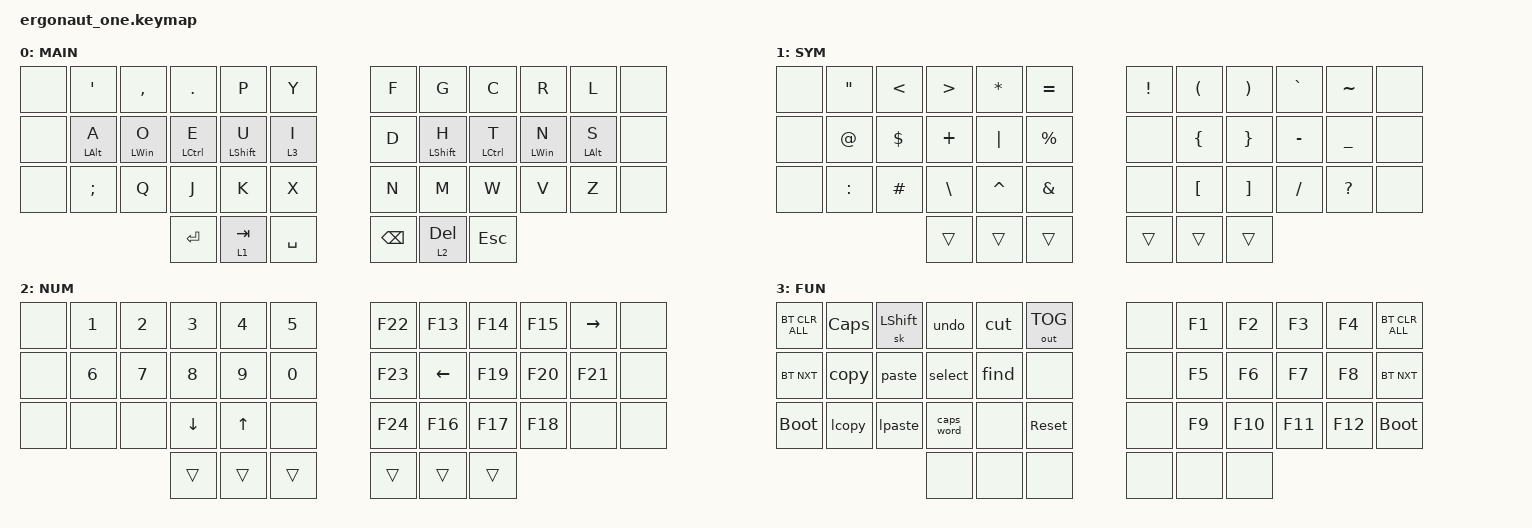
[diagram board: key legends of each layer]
#include <behaviors.dtsi>
#include <dt-bindings/zmk/bt.h>
#include <dt-bindings/zmk/keys.h>
#include <dt-bindings/zmk/outputs.h>

#define DEF 0
#define LWR 1
#define RSE 2
#define ADJ 3

&lt { quick-tap-ms = <200>; };

&mt { quick-tap-ms = <200>; };

/ {
    conditional_layers {
        compatible = "zmk,conditional-layers";

        tri-layer {
            if-layers = <LWR RSE>;
            then-layer = <ADJ>;
        };
    };

    macros {
        copy: copy {
            compatible = "zmk,behavior-macro";
            #binding-cells = <0>;
            bindings =
                <&macro_press>,
                <&kp LCTRL &kp C>,
                <&macro_release>,
                <&kp LCTRL &kp C>;

            label = "COPY";
        };

        lcopy: lcopy {
            compatible = "zmk,behavior-macro";
            #binding-cells = <0>;
            bindings =
                <&macro_press>,
                <&kp LCTRL &kp LEFT_SHIFT &kp C>,
                <&macro_release>,
                <&kp LCTRL &kp LEFT_SHIFT &kp C>;

            label = "LCOPY";
        };

        paste: paste {
            compatible = "zmk,behavior-macro";
            #binding-cells = <0>;
            bindings =
                <&macro_press>,
                <&kp LCTRL &kp V>,
                <&macro_release>,
                <&kp LCTRL &kp V>;

            label = "PASTE";
        };

        lpaste: lpaste {
            compatible = "zmk,behavior-macro";
            #binding-cells = <0>;
            bindings =
                <&macro_press>,
                <&kp LCTRL &kp LEFT_SHIFT &kp V>,
                <&macro_release>,
                <&kp LCTRL &kp LEFT_SHIFT &kp V>;

            label = "LPASTE";
        };

        find: find {
            compatible = "zmk,behavior-macro";
            #binding-cells = <0>;
            bindings =
                <&macro_press>,
                <&kp LCTRL &kp F>,
                <&macro_release>,
                <&kp LCTRL &kp F>;

            label = "FIND";
        };

        select: select {
            compatible = "zmk,behavior-macro";
            #binding-cells = <0>;
            bindings =
                <&macro_press>,
                <&kp LCTRL &kp A>,
                <&macro_release>,
                <&kp LCTRL &kp A>;

            label = "SELECT";
        };

        undo: undo {
            compatible = "zmk,behavior-macro";
            #binding-cells = <0>;
            bindings =
                <&macro_press>,
                <&kp LCTRL &kp Z>,
                <&macro_release>,
                <&kp LCTRL &kp Z>;

            label = "UNDO";
        };

        cut: cut {
            compatible = "zmk,behavior-macro";
            #binding-cells = <0>;
            bindings =
                <&macro_press>,
                <&kp LCTRL &kp X>,
                <&macro_release>,
                <&kp LCTRL &kp X>;

            label = "CUT";
        };
    };

    keymap {
        compatible = "zmk,keymap";

        default_layer {
            display-name = "MAIN";
            bindings = <
&none  &kp SQT         &kp COMMA       &kp PERIOD   &kp P             &kp Y      &kp F          &kp G             &kp C        &kp R           &kp L           &none
&none  &mt LEFT_ALT A  &mt LEFT_WIN O  &mt LCTRL E  &mt LEFT_SHIFT U  &lt 3 I    &kp D          &mt LEFT_SHIFT H  &mt LCTRL T  &mt LEFT_WIN N  &mt LEFT_ALT S  &none
&none  &kp SEMICOLON   &kp Q           &kp J        &kp K             &kp X      &kp N          &kp M             &kp W        &kp V           &kp Z           &none
                                       &kp ENTER    &lt 1 TAB         &kp SPACE  &kp BACKSPACE  &lt 2 DELETE      &kp ESC
            >;
        };

        lower_layer {
            display-name = "SYM";
            bindings = <
&none  &kp DOUBLE_QUOTES  &kp LESS_THAN  &kp GREATER_THAN  &kp ASTERISK  &kp EQUAL      &kp EXCLAMATION  &kp LEFT_PARENTHESIS  &kp RIGHT_PARENTHESIS  &kp GRAVE  &kp TILDE       &none
&none  &kp AT_SIGN        &kp DOLLAR     &kp PLUS          &kp PIPE      &kp PERCENT    &none            &kp LEFT_BRACE        &kp RIGHT_BRACE        &kp MINUS  &kp UNDERSCORE  &none
&none  &kp COLON          &kp HASH       &kp BACKSLASH     &kp CARET     &kp AMPERSAND  &none            &kp LEFT_BRACKET      &kp RIGHT_BRACKET      &kp SLASH  &kp QUESTION    &none
                                         &trans            &trans        &trans         &trans           &trans                &trans
            >;
        };

        raise_layer {
            display-name = "NUM";
            bindings = <
&none  &kp NUMBER_1  &kp NUMBER_2  &kp NUMBER_3    &kp NUMBER_4  &kp NUMBER_5  &kp F22  &kp F13   &kp F14  &kp F15  &kp RIGHT  &none
&none  &kp NUMBER_6  &kp NUMBER_7  &kp NUMBER_8    &kp NUMBER_9  &kp NUMBER_0  &kp F23  &kp LEFT  &kp F19  &kp F20  &kp F21    &none
&none  &none         &none         &kp DOWN_ARROW  &kp UP        &none         &kp F24  &kp F16   &kp F17  &kp F18  &none      &none
                                   &trans          &trans        &trans        &trans   &trans    &trans
            >;
        };

        adjust_layer {
            display-name = "FUN";
            bindings = <
&bt BT_CLR_ALL  &kp CAPS  &sk LEFT_SHIFT  &undo       &cut   &out OUT_TOG  &none  &kp F1  &kp F2   &kp F3   &kp F4   &bt BT_CLR_ALL
&bt BT_NXT      &copy     &paste          &select     &find  &none         &none  &kp F5  &kp F6   &kp F7   &kp F8   &bt BT_NXT
&bootloader     &lcopy    &lpaste         &caps_word  &none  &sys_reset    &none  &kp F9  &kp F10  &kp F11  &kp F12  &bootloader
                                          &none       &none  &none         &none  &none   &none
            >;
        };
    };
};
